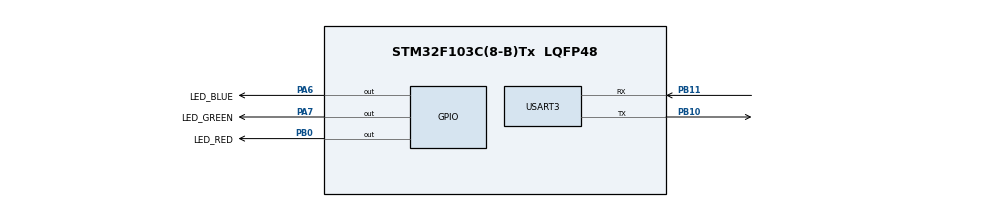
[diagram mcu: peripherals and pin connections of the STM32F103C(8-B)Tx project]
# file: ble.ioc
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Dma.Request0=USART3_TX
Dma.Request1=USART3_RX
Dma.USART3_RX.1.Direction=DMA_PERIPH_TO_MEMORY
Dma.USART3_RX.1.Instance=DMA1_Channel3
Dma.USART3_RX.1.MemDataAlignment=DMA_MDATAALIGN_BYTE
Dma.USART3_RX.1.MemInc=DMA_MINC_ENABLE
Dma.USART3_RX.1.Mode=DMA_NORMAL
Dma.USART3_RX.1.PeriphDataAlignment=DMA_PDATAALIGN_BYTE
Dma.USART3_RX.1.PeriphInc=DMA_PINC_DISABLE
Dma.USART3_RX.1.Priority=DMA_PRIORITY_LOW
Dma.USART3_TX.0.Direction=DMA_MEMORY_TO_PERIPH
Dma.USART3_TX.0.Instance=DMA1_Channel2
Dma.USART3_TX.0.MemDataAlignment=DMA_MDATAALIGN_BYTE
Dma.USART3_TX.0.MemInc=DMA_MINC_ENABLE
Dma.USART3_TX.0.Mode=DMA_NORMAL
Dma.USART3_TX.0.PeriphDataAlignment=DMA_PDATAALIGN_BYTE
Dma.USART3_TX.0.PeriphInc=DMA_PINC_DISABLE
Dma.USART3_TX.0.Priority=DMA_PRIORITY_LOW
Mcu.Family=STM32F1
Mcu.Name=STM32F103C(8-B)Tx
Mcu.Package=LQFP48
NVIC.DMA1_Channel2_IRQn=true\:0\:0\:false\:false\:true\:false\:true\:true
NVIC.DMA1_Channel3_IRQn=true\:0\:0\:false\:false\:true\:false\:true\:true
NVIC.PriorityGroup=NVIC_PRIORITYGROUP_4
NVIC.USART3_IRQn=true\:0\:0\:false\:false\:true\:true\:true\:true
PA13.Mode=Serial_Wire
PA13.Signal=SYS_JTMS-SWDIO
PA14.Mode=Serial_Wire
PA14.Signal=SYS_JTCK-SWCLK
PA6.GPIO_Label=LED_BLUE
PA6.Signal=GPIO_Output
PA7.GPIO_Label=LED_GREEN
PA7.Signal=GPIO_Output
PB0.GPIO_Label=LED_RED
PB0.Signal=GPIO_Output
PB10.Mode=Asynchronous
PB10.Signal=USART3_TX
PB11.Mode=Asynchronous
PB11.Signal=USART3_RX
ProjectManager.HeapSize=0x200
ProjectManager.StackSize=0x400
ProjectManager.TargetToolchain=STM32CubeIDE
RCC.APB1Freq_Value=8000000
RCC.APB2Freq_Value=8000000
USART3.VirtualMode=VM_ASYNC
board=custom

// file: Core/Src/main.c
/* USER CODE BEGIN Header */
/**
  ******************************************************************************
  * @file           : main.c
  * @brief          : Main program body
  ******************************************************************************
  * @attention
  *
  * Copyright (c) 2026 STMicroelectronics.
  * All rights reserved.
  *
  * This software is licensed under terms that can be found in the LICENSE file
  * in the root directory of this software component.
  * If no LICENSE file comes with this software, it is provided AS-IS.
  *
  * 源代码控制LED亮灭，LED位于B0 A7 A6
  * B11和B10为通信接口
  * 烧录后自动开启蓝牙广播。手机APP为BLEDemo
  * R1	52 31
  *R0	52 30
  *G1	47 31
  *G0	47 30
  *B1	42 31
  *B0	42 30
  *仅可使用ASCII Hex发送信息
  *
  ******************************************************************************
  */
/* USER CODE END Header */
#include "main.h"

/* USER CODE BEGIN Includes */
#include <string.h>
/* USER CODE END Includes */

UART_HandleTypeDef huart3;
DMA_HandleTypeDef hdma_usart3_tx;
DMA_HandleTypeDef hdma_usart3_rx;

/* USER CODE BEGIN PV */
uint8_t receiveData[50];
uint8_t txBuf[50];
/* USER CODE END PV */

void SystemClock_Config(void);
static void MX_GPIO_Init(void);
static void MX_DMA_Init(void);
static void MX_USART3_UART_Init(void);
/* USER CODE BEGIN PFP */
static void BC7701_SendNotify(uint8_t *data, uint8_t len);
static void BC7701_StartAdvertising(void);
static void ProcessPhoneData(uint8_t *data, uint8_t len);
/* USER CODE END PFP */

/* USER CODE BEGIN 0 */

/*
 * BC7701 协议说明：
 * 手机 -> 0xFFF2(Write Without Response) -> BC7701 -> UART 转发给 STM32
 *   收到的包格式: 78 [Len] [EvtStatus] [F2 FF] [手机原始数据...]
 *   Header=0x78, Length=后续总字节数, Type=0xFFF2(LSB first -> F2 FF)
 *
 * STM32 -> 0xFFF1(Notify) -> BC7701 -> 推送给手机
 *   发送的包格式: 77 [Len] 20 F1 FF [数据...]
 *   CmdFlag=0x20 表示触发 Notify, Type=0xFFF1(LSB first -> F1 FF)
 *
 * 开启广播: 77 04 00 07 00 01
 */

void HAL_UARTEx_RxEventCallback(UART_HandleTypeDef *huart, uint16_t Size)
{
	if (huart == &huart3)
	{
		/*
		 * 检查是否是 BC7701 转发的手机数据包
		 * 格式: 78 [Len] [EvtStatus] [F2 FF] [手机原始数据...]
		 */
		if (Size >= 5 && receiveData[0] == 0x78)
		{
			uint8_t evtStatus = receiveData[2];
			uint8_t typeLow   = receiveData[3];
			uint8_t typeHigh  = receiveData[4];

			/* 只处理 0xFFF2 (Write Without Response) 的数据包 */
			if (evtStatus == 0x00 && typeLow == 0xF2 && typeHigh == 0xFF)
			{
				/* 手机原始数据从 receiveData[5] 开始 */
				uint8_t *phoneData = &receiveData[5];
				uint8_t  phoneLen   = Size - 5;

				if (phoneLen > 0)
				{
					ProcessPhoneData(phoneData, phoneLen);
				}
			}
		}

		/* 重新启动 DMA 接收 */
		HAL_UARTEx_ReceiveToIdle_DMA(&huart3, receiveData, sizeof(receiveData));
		__HAL_DMA_DISABLE_IT(&hdma_usart3_rx, DMA_IT_HT);
	}
}

/*
 * 处理手机发来的数据
 * 手机发送 R1/G1/B1 -> 对应 LED 亮
 * 手机发送 R0/G0/B0 -> 对应 LED 灭
 * 然后通过 0xFFF1 Notify 把原始数据 Echo 回手机
 */
static void ProcessPhoneData(uint8_t *data, uint8_t len)
{
	/* --- LED 控制 --- */
	if (len >= 2)
	{
		if (data[0] == 'R')
		{
			if (data[1] == '1')
				HAL_GPIO_WritePin(LED_RED_GPIO_Port, LED_RED_Pin, GPIO_PIN_SET);
			else if (data[1] == '0')
				HAL_GPIO_WritePin(LED_RED_GPIO_Port, LED_RED_Pin, GPIO_PIN_RESET);
		}
		else if (data[0] == 'G')
		{
			if (data[1] == '1')
				HAL_GPIO_WritePin(LED_GREEN_GPIO_Port, LED_GREEN_Pin, GPIO_PIN_SET);
			else if (data[1] == '0')
				HAL_GPIO_WritePin(LED_GREEN_GPIO_Port, LED_GREEN_Pin, GPIO_PIN_RESET);
		}
		else if (data[0] == 'B')
		{
			if (data[1] == '1')
				HAL_GPIO_WritePin(LED_BLUE_GPIO_Port, LED_BLUE_Pin, GPIO_PIN_SET);
			else if (data[1] == '0')
				HAL_GPIO_WritePin(LED_BLUE_GPIO_Port, LED_BLUE_Pin, GPIO_PIN_RESET);
		}
	}

	/* --- Echo 回复：通过 0xFFF1 Notify 把原始数据发回手机 --- */
	BC7701_SendNotify(data, len);
}

/*
 * 通过 BC7701 的 0xFFF1 通道发送 Notify 数据给手机
 * 命令格式: 77 [Len] 20 F1 FF [数据...]
 *   Header   = 0x77
 *   Length   = 1(CmdFlag) + 2(Type) + N(数据) = 3 + len
 *   CmdFlag  = 0x20 (b[7:4]=2 -> 触发 Notify)
 *   Type     = 0xFFF1 (LSB first -> F1 FF)
 */
static void BC7701_SendNotify(uint8_t *data, uint8_t len)
{
	if (len > 40)
		len = 40;  /* 防止缓冲区溢出 */

	txBuf[0] = 0x77;
	txBuf[1] = 3 + len;       /* Length = CmdFlag + Type + Value */
	txBuf[2] = 0x20;          /* CmdFlag: 触发 Notify */
	txBuf[3] = 0xF1;          /* Type low byte */
	txBuf[4] = 0xFF;          /* Type high byte */
	memcpy(&txBuf[5], data, len);

	/* 用阻塞模式发送，避免在中断回调中忙等 DMA 造成死锁 */
	HAL_UART_Transmit(&huart3, txBuf, 5 + len, 100);
}

/*
 * 上电后向 BC7701 发送开启广播指令
 * 命令: 77 04 00 07 00 01
 *   Header  = 0x77
 *   Length  = 0x04 (CmdFlag + Type + Value = 1+2+1)
 *   CmdFlag = 0x00
 *   Type    = 0x0007 (LSB first -> 07 00)
 *   Value   = 0x01 (开启广播)
 */
static void BC7701_StartAdvertising(void)
{
	uint8_t advCmd[] = {0x77, 0x04, 0x00, 0x07, 0x00, 0x01};
	HAL_UART_Transmit(&huart3, advCmd, sizeof(advCmd), 100);
}
/* USER CODE END 0 */

int main(void)
{

  /* MCU Configuration--------------------------------------------------------*/

  /* Reset of all peripherals, Initializes the Flash interface and the Systick. */
  HAL_Init();

  /* Configure the system clock */
  SystemClock_Config();

  /* Initialize all configured peripherals */
  MX_GPIO_Init();
  MX_DMA_Init();
  MX_USART3_UART_Init();
  /* USER CODE BEGIN 2 */
  HAL_UARTEx_ReceiveToIdle_DMA(&huart3, receiveData, sizeof(receiveData));
  __HAL_DMA_DISABLE_IT(&hdma_usart3_rx, DMA_IT_HT);

  /* 等待 BC7701 上电启动完成（至少 60ms） */
  HAL_Delay(100);

  /* 开启 BC7701 广播 */
  BC7701_StartAdvertising();
  /* USER CODE END 2 */

  /* Infinite loop */
  while (1)
  {

  }
}

void SystemClock_Config(void)
{
  RCC_OscInitTypeDef RCC_OscInitStruct = {0};
  RCC_ClkInitTypeDef RCC_ClkInitStruct = {0};

  /** Initializes the RCC Oscillators according to the specified parameters
  * in the RCC_OscInitTypeDef structure.
  */
  RCC_OscInitStruct.OscillatorType = RCC_OSCILLATORTYPE_HSI;
  RCC_OscInitStruct.HSIState = RCC_HSI_ON;
  RCC_OscInitStruct.HSICalibrationValue = RCC_HSICALIBRATION_DEFAULT;
  RCC_OscInitStruct.PLL.PLLState = RCC_PLL_NONE;
  if (HAL_RCC_OscConfig(&RCC_OscInitStruct) != HAL_OK)
  {
    Error_Handler();
  }

  /** Initializes the CPU, AHB and APB buses clocks
  */
  RCC_ClkInitStruct.ClockType = RCC_CLOCKTYPE_HCLK|RCC_CLOCKTYPE_SYSCLK
                              |RCC_CLOCKTYPE_PCLK1|RCC_CLOCKTYPE_PCLK2;
  RCC_ClkInitStruct.SYSCLKSource = RCC_SYSCLKSOURCE_HSI;
  RCC_ClkInitStruct.AHBCLKDivider = RCC_SYSCLK_DIV1;
  RCC_ClkInitStruct.APB1CLKDivider = RCC_HCLK_DIV1;
  RCC_ClkInitStruct.APB2CLKDivider = RCC_HCLK_DIV1;

  if (HAL_RCC_ClockConfig(&RCC_ClkInitStruct, FLASH_LATENCY_0) != HAL_OK)
  {
    Error_Handler();
  }
}

static void MX_USART3_UART_Init(void)
{

  huart3.Instance = USART3;
  huart3.Init.BaudRate = 115200;
  huart3.Init.WordLength = UART_WORDLENGTH_8B;
  huart3.Init.StopBits = UART_STOPBITS_1;
  huart3.Init.Parity = UART_PARITY_NONE;
  huart3.Init.Mode = UART_MODE_TX_RX;
  huart3.Init.HwFlowCtl = UART_HWCONTROL_NONE;
  huart3.Init.OverSampling = UART_OVERSAMPLING_16;
  if (HAL_UART_Init(&huart3) != HAL_OK)
  {
    Error_Handler();
  }

}

static void MX_DMA_Init(void)
{

  /* DMA controller clock enable */
  __HAL_RCC_DMA1_CLK_ENABLE();

  /* DMA interrupt init */
  /* DMA1_Channel2_IRQn interrupt configuration */
  HAL_NVIC_SetPriority(DMA1_Channel2_IRQn, 0, 0);
  HAL_NVIC_EnableIRQ(DMA1_Channel2_IRQn);
  /* DMA1_Channel3_IRQn interrupt configuration */
  HAL_NVIC_SetPriority(DMA1_Channel3_IRQn, 0, 0);
  HAL_NVIC_EnableIRQ(DMA1_Channel3_IRQn);

}

static void MX_GPIO_Init(void)
{
  GPIO_InitTypeDef GPIO_InitStruct = {0};

  /* GPIO Ports Clock Enable */
  __HAL_RCC_GPIOA_CLK_ENABLE();
  __HAL_RCC_GPIOB_CLK_ENABLE();

  /*Configure GPIO pin Output Level */
  HAL_GPIO_WritePin(GPIOA, LED_BLUE_Pin|LED_GREEN_Pin, GPIO_PIN_RESET);

  /*Configure GPIO pin Output Level */
  HAL_GPIO_WritePin(LED_RED_GPIO_Port, LED_RED_Pin, GPIO_PIN_RESET);

  /*Configure GPIO pins : LED_BLUE_Pin LED_GREEN_Pin */
  GPIO_InitStruct.Pin = LED_BLUE_Pin|LED_GREEN_Pin;
  GPIO_InitStruct.Mode = GPIO_MODE_OUTPUT_PP;
  GPIO_InitStruct.Pull = GPIO_NOPULL;
  GPIO_InitStruct.Speed = GPIO_SPEED_FREQ_LOW;
  HAL_GPIO_Init(GPIOA, &GPIO_InitStruct);

  /*Configure GPIO pin : LED_RED_Pin */
  GPIO_InitStruct.Pin = LED_RED_Pin;
  GPIO_InitStruct.Mode = GPIO_MODE_OUTPUT_PP;
  GPIO_InitStruct.Pull = GPIO_NOPULL;
  GPIO_InitStruct.Speed = GPIO_SPEED_FREQ_LOW;
  HAL_GPIO_Init(LED_RED_GPIO_Port, &GPIO_InitStruct);

}

void Error_Handler(void)
{
  __disable_irq();
  while (1)
  {
  }
}
